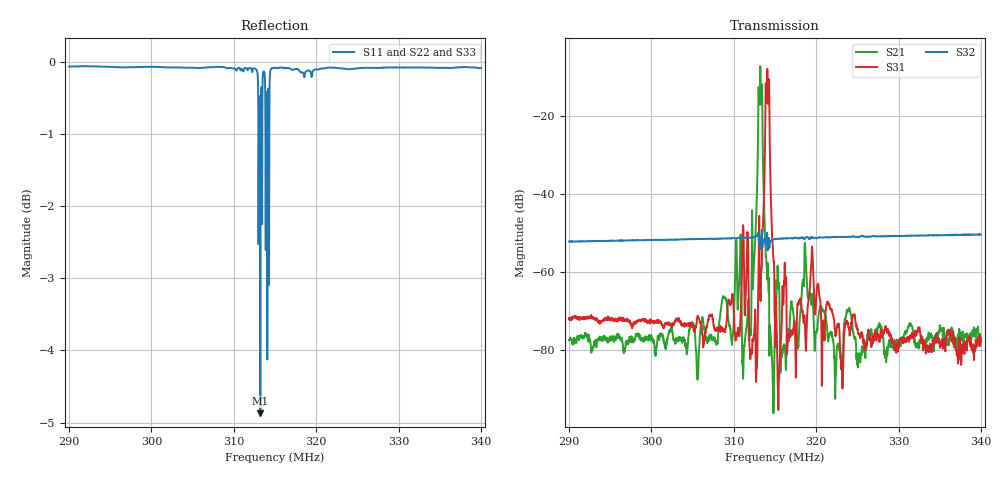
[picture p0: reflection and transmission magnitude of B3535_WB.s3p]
! Matrix data file written by TouchstoneData, EPCOS AG
! FILENAME: "newformat_LZ07A_MB.s3p"
! COMMENT: "(LZ07A_MB.s3p) Epcos AG 31.01.2012 10:33:57"
! INFO: nport=3, nfreq=1601
! DATE: "Tue Jan 31 14:34:37 2012"
! USER: "Wilfried Schott"
! port | pin | signal
!  1  |  1  |  IN
!  2  |  5  |  OUT CH2
!  3  |  7  |  OUT CH3
# MHZ S MA R 50
! freq  magS11 angS11  magS12 angS12  magS13 angS13  ...
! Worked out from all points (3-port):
!   1601 points, 290 MHz to 340 MHz, reference 50 ohm
!   strongest paths, dB at 290 MHz, 302.5 MHz, 315 MHz, 327.5 MHz, 340 MHz:
!     S32: -52.1, -51.7, -51.5, -50.9, -50.4
!     S31: -71.8, -74.1, -72.3, -76.6, -76.8
!     S21: -77.3, -75.1, -72.2, -73.9, -77.9
!   lowest |S11| = -4.9 dB at 313.2 MHz (marker M1), VSWR 3.66, Z = 128 - j79.2 ohm
!   |S11| at or under -10 dB: nowhere
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290  0.993 -26.3  0.0001378 72.8  0.0002384 79.6
     0.0001358 65.8  0.9932 -14.9  0.002464 73.9
     0.0002566 78.7  0.002479 74.2  0.9923 -15.8
307.8125  0.9925 -28.2  0.0001287 75.2  0.0001843 71.7
          0.0001265 73.3  0.9926 -16.1  0.002681 73.0
          0.0001768 73.0  0.002682 73.0  0.9928 -16.9
310.5938  0.9909 -29.0  0.000566 57.6  0.0001923 140.6
          0.0005719 58.1  0.9927 -16.5  0.002754 72.7
          0.0001799 136.8  0.002746 72.6  0.9914 -17.3
311.25  0.9893 -29.1  0.000103 69.7  0.0009681 -28.3
        0.0001157 64.5  0.9931 -16.7  0.002729 72.0
        0.0009719 -27.4  0.002734 72.1  0.9899 -17.2
312.125  0.9902 -30.3  0.0003267 169.5  0.0001101 80.7
         0.0003168 167.4  0.9923 -17.5  0.002785 71.6
         0.000101 78.0  0.002787 71.6  0.9915 -17.6
313.2188  0.5707 -21.4  0.4345 146.3  0.0004892 -25.3
          0.4336 146.4  0.5534 -8.3  0.001971 59.7
          0.0004852 -24.5  0.001974 59.5  0.9906 -18.6
314.0938  0.7365 -10.6  0.001341 -94.1  0.351 120.1
          0.001317 -91.5  0.9926 -14.6  0.001912 56.0
          0.3505 120.2  0.001901 57.9  0.7334 -0.4
315  0.9912 -26.2  0.0002305 37.9  0.000245 -119.2
     0.0002458 38.8  0.9925 -15.5  0.002654 74.2
     0.000244 -120.9  0.002663 74.0  0.9916 -15.5
318.625  0.9808 -27.8  0.002375 129.5  0.0002179 162.6
         0.002375 129.7  0.9837 -15.8  0.002723 74.2
         0.0002255 164.1  0.002714 74.5  0.9882 -16.9
340  0.9907 -30.5  0.0001259 62.0  0.0001451 93.1
     0.0001272 62.2  0.9927 -17.4  0.003016 71.5
     0.0001442 97.7  0.003022 71.4  0.9908 -18.2
